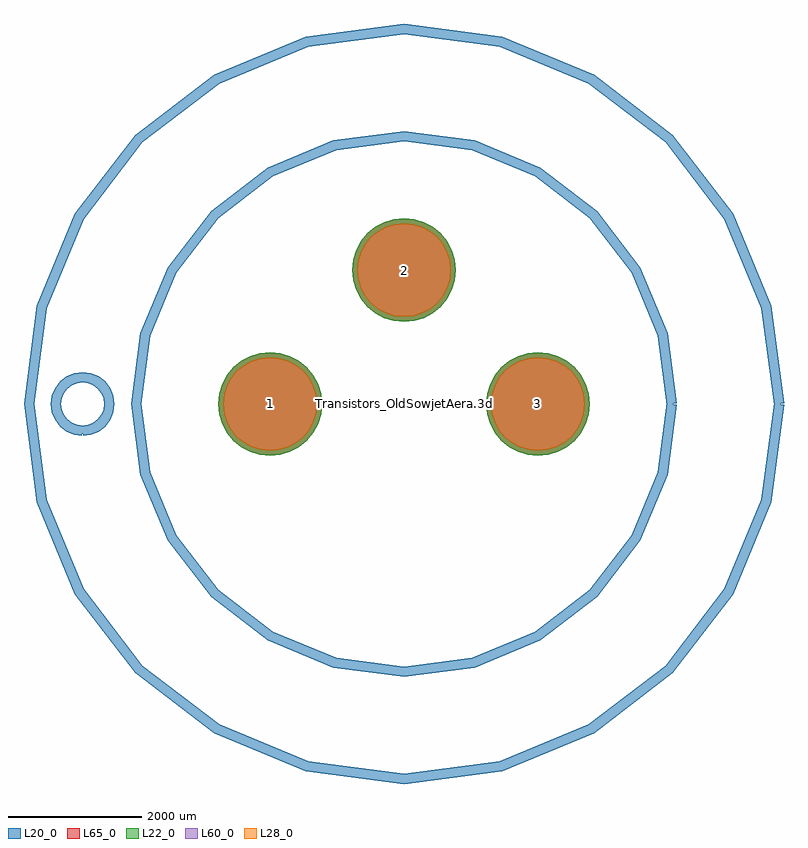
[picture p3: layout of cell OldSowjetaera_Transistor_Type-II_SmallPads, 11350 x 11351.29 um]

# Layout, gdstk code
import gdstk
lib = gdstk.Library(unit=1e-6, precision=1e-09)
def P(c, l, *ps):  # polygons
    for p in ps: c.add(gdstk.Polygon(p, *l))
L20_0 = (20, 0)
L22_0 = (22, 0)
L28_0 = (28, 0)
L60_0 = (60, 0)
L65_0 = (65, 0)

oldsowjetaera_transistor = lib.new_cell('OldSowjetaera_Transistor_Type-II_SmallPads')
P(oldsowjetaera_transistor, L22_0, [(2775,0),(2760.109,151.195),(2716.007,296.58),(2644.389,430.567),(2548.008,548.008),(2430.567,644.389),(2296.58,716.007),(2151.195,760.109),(2000,775),(1848.805,760.109),(1703.42,716.007),(1569.433,644.389),(1451.992,548.008),(1355.611,430.567),(1283.993,296.58),(1239.891,151.195),(1225,0),(1239.891,-151.195),(1283.993,-296.58),(1355.611,-430.567),(1451.992,-548.008),(1569.433,-644.389),(1703.42,-716.007),(1848.805,-760.109),(2000,-775),(2151.195,-760.109),(2296.58,-716.007),(2430.567,-644.389),(2548.008,-548.008),(2644.389,-430.567),(2716.007,-296.58),(2760.109,-151.195)],
  [(-1225,0),(-1239.891,151.195),(-1283.993,296.58),(-1355.611,430.567),(-1451.992,548.008),(-1569.433,644.389),(-1703.42,716.007),(-1848.805,760.109),(-2000,775),(-2151.195,760.109),(-2296.58,716.007),(-2430.567,644.389),(-2548.008,548.008),(-2644.389,430.567),(-2716.007,296.58),(-2760.109,151.195),(-2775,0),(-2760.109,-151.195),(-2716.007,-296.58),(-2644.389,-430.567),(-2548.008,-548.008),(-2430.567,-644.389),(-2296.58,-716.007),(-2151.195,-760.109),(-2000,-775),(-1848.805,-760.109),(-1703.42,-716.007),(-1569.433,-644.389),(-1451.992,-548.008),(-1355.611,-430.567),(-1283.993,-296.58),(-1239.891,-151.195)],
  [(775,2000),(760.109,2151.195),(716.007,2296.58),(644.389,2430.567),(548.008,2548.008),(430.567,2644.389),(296.58,2716.007),(151.195,2760.109),(0,2775),(-151.195,2760.109),(-296.58,2716.007),(-430.567,2644.389),(-548.008,2548.008),(-644.389,2430.567),(-716.007,2296.58),(-760.109,2151.195),(-775,2000),(-760.109,1848.805),(-716.007,1703.42),(-644.389,1569.433),(-548.008,1451.992),(-430.567,1355.611),(-296.58,1283.993),(-151.195,1239.891),(0,1225),(151.195,1239.891),(296.58,1283.993),(430.567,1355.611),(548.008,1451.992),(644.389,1569.433),(716.007,1703.42),(760.109,1848.805)])
P(oldsowjetaera_transistor, L28_0, [(2700,0),(2686.55,136.563),(2646.716,267.878),(2582.029,388.899),(2494.975,494.975),(2388.899,582.029),(2267.878,646.716),(2136.563,686.55),(2000,700),(1863.437,686.55),(1732.122,646.716),(1611.101,582.029),(1505.025,494.975),(1417.971,388.899),(1353.284,267.878),(1313.45,136.563),(1300,0),(1313.45,-136.563),(1353.284,-267.878),(1417.971,-388.899),(1505.025,-494.975),(1611.101,-582.029),(1732.122,-646.716),(1863.437,-686.55),(2000,-700),(2136.563,-686.55),(2267.878,-646.716),(2388.899,-582.029),(2494.975,-494.975),(2582.029,-388.899),(2646.716,-267.878),(2686.55,-136.563)],
  [(-1300,0),(-1313.45,136.563),(-1353.284,267.878),(-1417.971,388.899),(-1505.025,494.975),(-1611.101,582.029),(-1732.122,646.716),(-1863.437,686.55),(-2000,700),(-2136.563,686.55),(-2267.878,646.716),(-2388.899,582.029),(-2494.975,494.975),(-2582.029,388.899),(-2646.716,267.878),(-2686.55,136.563),(-2700,0),(-2686.55,-136.563),(-2646.716,-267.878),(-2582.029,-388.899),(-2494.975,-494.975),(-2388.899,-582.029),(-2267.878,-646.716),(-2136.563,-686.55),(-2000,-700),(-1863.437,-686.55),(-1732.122,-646.716),(-1611.101,-582.029),(-1505.025,-494.975),(-1417.971,-388.899),(-1353.284,-267.878),(-1313.45,-136.563)],
  [(700,2000),(686.55,2136.563),(646.716,2267.878),(582.029,2388.899),(494.975,2494.975),(388.899,2582.029),(267.878,2646.716),(136.563,2686.55),(0,2700),(-136.563,2686.55),(-267.878,2646.716),(-388.899,2582.029),(-494.975,2494.975),(-582.029,2388.899),(-646.716,2267.878),(-686.55,2136.563),(-700,2000),(-686.55,1863.437),(-646.716,1732.122),(-582.029,1611.101),(-494.975,1505.025),(-388.899,1417.971),(-267.878,1353.284),(-136.563,1313.45),(0,1300),(136.563,1313.45),(267.878,1353.284),(388.899,1417.971),(494.975,1505.025),(582.029,1611.101),(646.716,1732.122),(686.55,1863.437)])
P(oldsowjetaera_transistor, L60_0, [(2700,0),(2686.55,136.563),(2646.716,267.878),(2582.029,388.899),(2494.975,494.975),(2388.899,582.029),(2267.878,646.716),(2136.563,686.55),(2000,700),(1863.437,686.55),(1732.122,646.716),(1611.101,582.029),(1505.025,494.975),(1417.971,388.899),(1353.284,267.878),(1313.45,136.563),(1300,0),(1313.45,-136.563),(1353.284,-267.878),(1417.971,-388.899),(1505.025,-494.975),(1611.101,-582.029),(1732.122,-646.716),(1863.437,-686.55),(2000,-700),(2136.563,-686.55),(2267.878,-646.716),(2388.899,-582.029),(2494.975,-494.975),(2582.029,-388.899),(2646.716,-267.878),(2686.55,-136.563)],
  [(-1300,0),(-1313.45,136.563),(-1353.284,267.878),(-1417.971,388.899),(-1505.025,494.975),(-1611.101,582.029),(-1732.122,646.716),(-1863.437,686.55),(-2000,700),(-2136.563,686.55),(-2267.878,646.716),(-2388.899,582.029),(-2494.975,494.975),(-2582.029,388.899),(-2646.716,267.878),(-2686.55,136.563),(-2700,0),(-2686.55,-136.563),(-2646.716,-267.878),(-2582.029,-388.899),(-2494.975,-494.975),(-2388.899,-582.029),(-2267.878,-646.716),(-2136.563,-686.55),(-2000,-700),(-1863.437,-686.55),(-1732.122,-646.716),(-1611.101,-582.029),(-1505.025,-494.975),(-1417.971,-388.899),(-1353.284,-267.878),(-1313.45,-136.563)],
  [(700,2000),(686.55,2136.563),(646.716,2267.878),(582.029,2388.899),(494.975,2494.975),(388.899,2582.029),(267.878,2646.716),(136.563,2686.55),(0,2700),(-136.563,2686.55),(-267.878,2646.716),(-388.899,2582.029),(-494.975,2494.975),(-582.029,2388.899),(-646.716,2267.878),(-686.55,2136.563),(-700,2000),(-686.55,1863.437),(-646.716,1732.122),(-582.029,1611.101),(-494.975,1505.025),(-388.899,1417.971),(-267.878,1353.284),(-136.563,1313.45),(0,1300),(136.563,1313.45),(267.878,1353.284),(388.899,1417.971),(494.975,1505.025),(582.029,1611.101),(646.716,1732.122),(686.55,1863.437)])
P(oldsowjetaera_transistor, L65_0, [(2775,0),(2760.109,151.195),(2716.007,296.58),(2644.389,430.567),(2548.008,548.008),(2430.567,644.389),(2296.58,716.007),(2151.195,760.109),(2000,775),(1848.805,760.109),(1703.42,716.007),(1569.433,644.389),(1451.992,548.008),(1355.611,430.567),(1283.993,296.58),(1239.891,151.195),(1225,0),(1239.891,-151.195),(1283.993,-296.58),(1355.611,-430.567),(1451.992,-548.008),(1569.433,-644.389),(1703.42,-716.007),(1848.805,-760.109),(2000,-775),(2151.195,-760.109),(2296.58,-716.007),(2430.567,-644.389),(2548.008,-548.008),(2644.389,-430.567),(2716.007,-296.58),(2760.109,-151.195)],
  [(-1225,0),(-1239.891,151.195),(-1283.993,296.58),(-1355.611,430.567),(-1451.992,548.008),(-1569.433,644.389),(-1703.42,716.007),(-1848.805,760.109),(-2000,775),(-2151.195,760.109),(-2296.58,716.007),(-2430.567,644.389),(-2548.008,548.008),(-2644.389,430.567),(-2716.007,296.58),(-2760.109,151.195),(-2775,0),(-2760.109,-151.195),(-2716.007,-296.58),(-2644.389,-430.567),(-2548.008,-548.008),(-2430.567,-644.389),(-2296.58,-716.007),(-2151.195,-760.109),(-2000,-775),(-1848.805,-760.109),(-1703.42,-716.007),(-1569.433,-644.389),(-1451.992,-548.008),(-1355.611,-430.567),(-1283.993,-296.58),(-1239.891,-151.195)],
  [(775,2000),(760.109,2151.195),(716.007,2296.58),(644.389,2430.567),(548.008,2548.008),(430.567,2644.389),(296.58,2716.007),(151.195,2760.109),(0,2775),(-151.195,2760.109),(-296.58,2716.007),(-430.567,2644.389),(-548.008,2548.008),(-644.389,2430.567),(-716.007,2296.58),(-760.109,2151.195),(-775,2000),(-760.109,1848.805),(-716.007,1703.42),(-644.389,1569.433),(-548.008,1451.992),(-430.567,1355.611),(-296.58,1283.993),(-151.195,1239.891),(0,1225),(151.195,1239.891),(296.58,1283.993),(430.567,1355.611),(548.008,1451.992),(644.389,1569.433),(716.007,1703.42),(760.109,1848.805)])
oldsowjetaera_transistor.add(gdstk.FlexPath([(5600,0),(5409.185,1449.387),(4849.742,2800),(3959.798,3959.798),(2800,4849.742),(1449.387,5409.185),(0,5600),(-1449.387,5409.185),(-2800,4849.742),(-3959.798,3959.798),(-4849.742,2800),(-5409.185,1449.387),(-5600,0),(-5409.185,-1449.387),(-4849.742,-2800),(-3959.798,-3959.798),(-2800,-4849.742),(-1449.387,-5409.185),(0,-5600),(1449.387,-5409.185),(2800,-4849.742),(3959.798,-3959.798),(4849.742,-2800),(5409.185,-1449.387),(5600,0)], 149.998, ends="flush", simple_path=True, layer=20, datatype=0))  # L20_0
oldsowjetaera_transistor.add(gdstk.FlexPath([(4000,0),(3863.703,1035.276),(3464.102,2000),(2828.427,2828.427),(2000,3464.102),(1035.276,3863.703),(0,4000),(-1035.276,3863.703),(-2000,3464.102),(-2828.427,2828.427),(-3464.102,2000),(-3863.703,1035.276),(-4000,0),(-3863.703,-1035.276),(-3464.102,-2000),(-2828.427,-2828.427),(-2000,-3464.102),(-1035.276,-3863.703),(0,-4000),(1035.276,-3863.703),(2000,-3464.102),(2828.427,-2828.427),(3464.102,-2000),(3863.703,-1035.276),(4000,0)], 149.998, ends="flush", simple_path=True, layer=20, datatype=0))  # L20_0
oldsowjetaera_transistor.add(gdstk.FlexPath([(-4800,-400),(-4696.472,-386.37),(-4600,-346.41),(-4517.157,-282.843),(-4453.59,-200),(-4413.63,-103.528),(-4400,0),(-4413.63,103.528),(-4453.59,200),(-4517.157,282.843),(-4600,346.41),(-4696.472,386.37),(-4800,400),(-4903.528,386.37),(-5000,346.41),(-5082.843,282.843),(-5146.41,200),(-5186.37,103.528),(-5200,0),(-5186.37,-103.528),(-5146.41,-200),(-5082.843,-282.843),(-5000,-346.41),(-4903.528,-386.37),(-4800,-400)], 149.998, ends="flush", simple_path=True, layer=20, datatype=0))  # L20_0
oldsowjetaera_transistor.add(gdstk.Label('Transistors_OldSowjetAera.3dshapes/OldSowjetaera_Transistor_Type-II_SmallPads.wrl', (0,0), layer=12, texttype=0))
oldsowjetaera_transistor.add(gdstk.Label('3', (2000,0), layer=28, texttype=0))
oldsowjetaera_transistor.add(gdstk.Label('1', (-2000,0), layer=28, texttype=0))
oldsowjetaera_transistor.add(gdstk.Label('2', (0,2000), layer=28, texttype=0))
oldsowjetaera_transistor.add(gdstk.Label('type', (100,-7600), layer=9, texttype=0))
oldsowjetaera_transistor.add(gdstk.Label('devicename', (0,7100), layer=9, texttype=0))

lib.write_gds('OldSowjetaera_Transistor_Type-II_SmallPads.gds')
